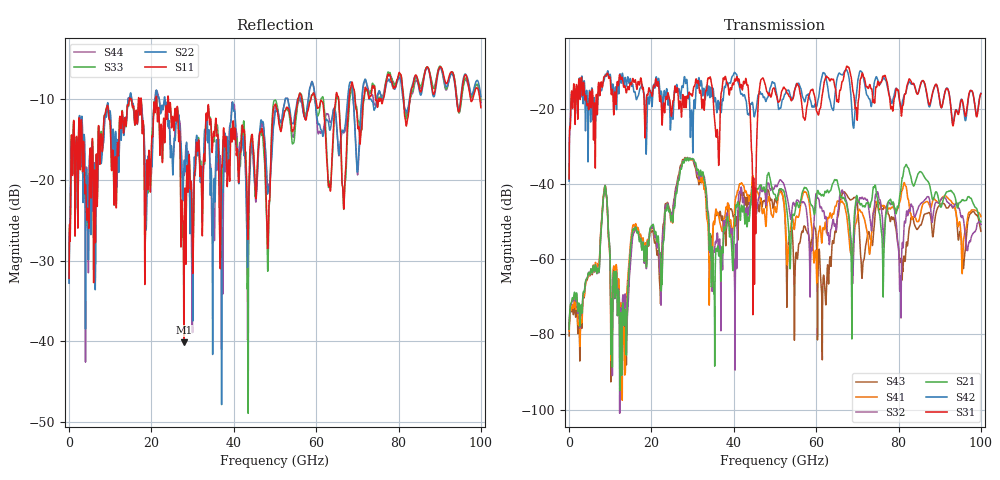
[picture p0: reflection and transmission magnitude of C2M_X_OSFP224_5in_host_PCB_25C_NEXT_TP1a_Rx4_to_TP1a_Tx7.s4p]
# GHz S RI R 45
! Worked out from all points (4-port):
!   4000 points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, 25 MHz to 100 GHz, reference 45 ohm
!   strongest paths, dB at 25 MHz, 25.02 GHz, 50.02 GHz, 75.03 GHz, 100 GHz:
!     S31: -38.6, -20.1, -15.4, -12.8, -16.0
!     S42: -39.3, -21.2, -13.8, -12.5, -15.9
!     S21: -78.6, -49.0, -42.8, -45.3, -50.1
!     S32: -78.0, -48.0, -40.5, -42.4, -50.8
!     S41: -79.2, -49.1, -46.1, -46.5, -48.7
!     S43: -80.4, -47.8, -43.9, -44.4, -52.6
!   lowest |S11| = -40.1 dB at 27.88 GHz (marker M1), VSWR 1.02, Z = 44.9 - j0.881 ohm
!   |S11| at or under -10 dB: start of sweep to 14.63 GHz; 24.14 GHz to 55.56 GHz (31.42 GHz wide, 78.8 % of centre); 59.94 GHz to 64.74 GHz (4.797 GHz wide, 7.69 % of centre) (the widest 3 of 18)
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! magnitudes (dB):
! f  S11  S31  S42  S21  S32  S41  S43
! 25 MHz  -32.2  -38.6  -39.3  -78.6  -78.0  -79.2  -80.4
! 27.88 GHz  -40.1  -19.6  -12.5  -34.5  -34.1  -34.0  -33.6
! 35.02 GHz  -14.2  -17.8  -14.8  -62.6  -58.4  -51.0  -50.7
! 43.1 GHz  -19.7  -13.1  -18.7  -49.4  -48.8  -42.5  -44.9
! 44.98 GHz  -18.0  -47.1  -22.2  -43.4  -49.0  -41.9  -47.0
! 46.92 GHz  -13.8  -12.0  -16.0  -41.5  -42.0  -47.8  -45.7
! 100 GHz  -11.0  -16.0  -15.9  -50.1  -50.8  -48.7  -52.6
